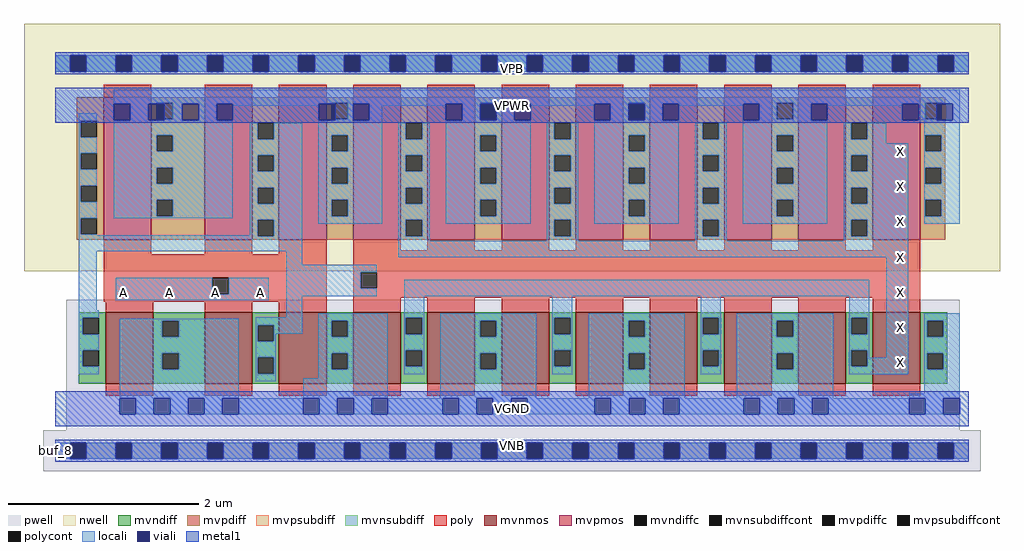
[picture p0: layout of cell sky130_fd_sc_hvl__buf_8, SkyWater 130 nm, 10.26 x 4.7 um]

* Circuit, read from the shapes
.subckt sky130_fd_sc_hvl__buf_8 A VGND VNB VPB VPWR X
XM1 VGND A n1 VNB sky130_fd_pr__nfet_g5v0d10v5 w=0.75 l=0.5 m=3
XM2 X n1 VGND VNB sky130_fd_pr__nfet_g5v0d10v5 w=0.75 l=0.5 m=8
XM3 VPWR A n1 VPB sky130_fd_pr__pfet_g5v0d10v5 w=1.5 l=0.5 m=3
XM4 X n1 VPWR VPB sky130_fd_pr__pfet_g5v0d10v5 w=1.5 l=0.5 m=8
.ends

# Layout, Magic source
magic
tech sky130A
magscale 1 2
<< nwell >>
rect -66 377 1986 897
<< pwell >>
rect 23 43 1901 317
rect -26 -43 1946 43
<< mvnmos >>
rect 106 141 206 291
rect 314 141 414 291
rect 470 141 570 291
rect 626 141 726 291
rect 782 141 882 291
rect 938 141 1038 291
rect 1094 141 1194 291
rect 1250 141 1350 291
rect 1406 141 1506 291
rect 1562 141 1662 291
rect 1718 141 1818 291
<< mvpmos >>
rect 102 443 202 743
rect 314 443 414 743
rect 470 443 570 743
rect 626 443 726 743
rect 782 443 882 743
rect 938 443 1038 743
rect 1094 443 1194 743
rect 1250 443 1350 743
rect 1406 443 1506 743
rect 1562 443 1662 743
rect 1718 443 1818 743
<< mvndiff >>
rect 49 279 106 291
rect 49 245 57 279
rect 91 245 106 279
rect 49 211 106 245
rect 49 177 57 211
rect 91 177 106 211
rect 49 141 106 177
rect 206 273 314 291
rect 206 239 225 273
rect 259 239 314 273
rect 206 205 314 239
rect 206 171 225 205
rect 259 171 314 205
rect 206 141 314 171
rect 414 264 470 291
rect 414 230 425 264
rect 459 230 470 264
rect 414 196 470 230
rect 414 162 425 196
rect 459 162 470 196
rect 414 141 470 162
rect 570 273 626 291
rect 570 239 581 273
rect 615 239 626 273
rect 570 205 626 239
rect 570 171 581 205
rect 615 171 626 205
rect 570 141 626 171
rect 726 279 782 291
rect 726 245 737 279
rect 771 245 782 279
rect 726 211 782 245
rect 726 177 737 211
rect 771 177 782 211
rect 726 141 782 177
rect 882 273 938 291
rect 882 239 893 273
rect 927 239 938 273
rect 882 205 938 239
rect 882 171 893 205
rect 927 171 938 205
rect 882 141 938 171
rect 1038 279 1094 291
rect 1038 245 1049 279
rect 1083 245 1094 279
rect 1038 211 1094 245
rect 1038 177 1049 211
rect 1083 177 1094 211
rect 1038 141 1094 177
rect 1194 273 1250 291
rect 1194 239 1205 273
rect 1239 239 1250 273
rect 1194 205 1250 239
rect 1194 171 1205 205
rect 1239 171 1250 205
rect 1194 141 1250 171
rect 1350 279 1406 291
rect 1350 245 1361 279
rect 1395 245 1406 279
rect 1350 211 1406 245
rect 1350 177 1361 211
rect 1395 177 1406 211
rect 1350 141 1406 177
rect 1506 273 1562 291
rect 1506 239 1517 273
rect 1551 239 1562 273
rect 1506 205 1562 239
rect 1506 171 1517 205
rect 1551 171 1562 205
rect 1506 141 1562 171
rect 1662 279 1718 291
rect 1662 245 1673 279
rect 1707 245 1718 279
rect 1662 211 1718 245
rect 1662 177 1673 211
rect 1707 177 1718 211
rect 1662 141 1718 177
rect 1818 273 1875 291
rect 1818 239 1833 273
rect 1867 239 1875 273
rect 1818 205 1875 239
rect 1818 171 1833 205
rect 1867 171 1875 205
rect 1818 141 1875 171
<< mvpdiff >>
rect 45 693 102 743
rect 45 659 53 693
rect 87 659 102 693
rect 45 625 102 659
rect 45 591 53 625
rect 87 591 102 625
rect 45 557 102 591
rect 45 523 53 557
rect 87 523 102 557
rect 45 489 102 523
rect 45 455 53 489
rect 87 455 102 489
rect 45 443 102 455
rect 202 731 314 743
rect 202 697 213 731
rect 247 697 314 731
rect 202 663 314 697
rect 202 629 213 663
rect 247 629 314 663
rect 202 595 314 629
rect 202 561 213 595
rect 247 561 314 595
rect 202 527 314 561
rect 202 493 213 527
rect 247 493 314 527
rect 202 443 314 493
rect 414 689 470 743
rect 414 655 425 689
rect 459 655 470 689
rect 414 621 470 655
rect 414 587 425 621
rect 459 587 470 621
rect 414 553 470 587
rect 414 519 425 553
rect 459 519 470 553
rect 414 485 470 519
rect 414 451 425 485
rect 459 451 470 485
rect 414 443 470 451
rect 570 731 626 743
rect 570 697 581 731
rect 615 697 626 731
rect 570 663 626 697
rect 570 629 581 663
rect 615 629 626 663
rect 570 595 626 629
rect 570 561 581 595
rect 615 561 626 595
rect 570 527 626 561
rect 570 493 581 527
rect 615 493 626 527
rect 570 443 626 493
rect 726 689 782 743
rect 726 655 737 689
rect 771 655 782 689
rect 726 621 782 655
rect 726 587 737 621
rect 771 587 782 621
rect 726 553 782 587
rect 726 519 737 553
rect 771 519 782 553
rect 726 485 782 519
rect 726 451 737 485
rect 771 451 782 485
rect 726 443 782 451
rect 882 731 938 743
rect 882 697 893 731
rect 927 697 938 731
rect 882 663 938 697
rect 882 629 893 663
rect 927 629 938 663
rect 882 595 938 629
rect 882 561 893 595
rect 927 561 938 595
rect 882 527 938 561
rect 882 493 893 527
rect 927 493 938 527
rect 882 443 938 493
rect 1038 689 1094 743
rect 1038 655 1049 689
rect 1083 655 1094 689
rect 1038 621 1094 655
rect 1038 587 1049 621
rect 1083 587 1094 621
rect 1038 553 1094 587
rect 1038 519 1049 553
rect 1083 519 1094 553
rect 1038 485 1094 519
rect 1038 451 1049 485
rect 1083 451 1094 485
rect 1038 443 1094 451
rect 1194 731 1250 743
rect 1194 697 1205 731
rect 1239 697 1250 731
rect 1194 663 1250 697
rect 1194 629 1205 663
rect 1239 629 1250 663
rect 1194 595 1250 629
rect 1194 561 1205 595
rect 1239 561 1250 595
rect 1194 527 1250 561
rect 1194 493 1205 527
rect 1239 493 1250 527
rect 1194 443 1250 493
rect 1350 689 1406 743
rect 1350 655 1361 689
rect 1395 655 1406 689
rect 1350 621 1406 655
rect 1350 587 1361 621
rect 1395 587 1406 621
rect 1350 553 1406 587
rect 1350 519 1361 553
rect 1395 519 1406 553
rect 1350 485 1406 519
rect 1350 451 1361 485
rect 1395 451 1406 485
rect 1350 443 1406 451
rect 1506 731 1562 743
rect 1506 697 1517 731
rect 1551 697 1562 731
rect 1506 663 1562 697
rect 1506 629 1517 663
rect 1551 629 1562 663
rect 1506 595 1562 629
rect 1506 561 1517 595
rect 1551 561 1562 595
rect 1506 527 1562 561
rect 1506 493 1517 527
rect 1551 493 1562 527
rect 1506 443 1562 493
rect 1662 689 1718 743
rect 1662 655 1673 689
rect 1707 655 1718 689
rect 1662 621 1718 655
rect 1662 587 1673 621
rect 1707 587 1718 621
rect 1662 553 1718 587
rect 1662 519 1673 553
rect 1707 519 1718 553
rect 1662 485 1718 519
rect 1662 451 1673 485
rect 1707 451 1718 485
rect 1662 443 1718 451
rect 1818 731 1871 743
rect 1818 697 1829 731
rect 1863 697 1871 731
rect 1818 663 1871 697
rect 1818 629 1829 663
rect 1863 629 1871 663
rect 1818 595 1871 629
rect 1818 561 1829 595
rect 1863 561 1871 595
rect 1818 527 1871 561
rect 1818 493 1829 527
rect 1863 493 1871 527
rect 1818 443 1871 493
<< mvndiffc >>
rect 57 245 91 279
rect 57 177 91 211
rect 225 239 259 273
rect 225 171 259 205
rect 425 230 459 264
rect 425 162 459 196
rect 581 239 615 273
rect 581 171 615 205
rect 737 245 771 279
rect 737 177 771 211
rect 893 239 927 273
rect 893 171 927 205
rect 1049 245 1083 279
rect 1049 177 1083 211
rect 1205 239 1239 273
rect 1205 171 1239 205
rect 1361 245 1395 279
rect 1361 177 1395 211
rect 1517 239 1551 273
rect 1517 171 1551 205
rect 1673 245 1707 279
rect 1673 177 1707 211
rect 1833 239 1867 273
rect 1833 171 1867 205
<< mvpdiffc >>
rect 53 659 87 693
rect 53 591 87 625
rect 53 523 87 557
rect 53 455 87 489
rect 213 697 247 731
rect 213 629 247 663
rect 213 561 247 595
rect 213 493 247 527
rect 425 655 459 689
rect 425 587 459 621
rect 425 519 459 553
rect 425 451 459 485
rect 581 697 615 731
rect 581 629 615 663
rect 581 561 615 595
rect 581 493 615 527
rect 737 655 771 689
rect 737 587 771 621
rect 737 519 771 553
rect 737 451 771 485
rect 893 697 927 731
rect 893 629 927 663
rect 893 561 927 595
rect 893 493 927 527
rect 1049 655 1083 689
rect 1049 587 1083 621
rect 1049 519 1083 553
rect 1049 451 1083 485
rect 1205 697 1239 731
rect 1205 629 1239 663
rect 1205 561 1239 595
rect 1205 493 1239 527
rect 1361 655 1395 689
rect 1361 587 1395 621
rect 1361 519 1395 553
rect 1361 451 1395 485
rect 1517 697 1551 731
rect 1517 629 1551 663
rect 1517 561 1551 595
rect 1517 493 1551 527
rect 1673 655 1707 689
rect 1673 587 1707 621
rect 1673 519 1707 553
rect 1673 451 1707 485
rect 1829 697 1863 731
rect 1829 629 1863 663
rect 1829 561 1863 595
rect 1829 493 1863 527
<< mvpsubdiff >>
rect 0 -17 31 17
rect 65 -17 127 17
rect 161 -17 223 17
rect 257 -17 319 17
rect 353 -17 415 17
rect 449 -17 511 17
rect 545 -17 607 17
rect 641 -17 703 17
rect 737 -17 799 17
rect 833 -17 895 17
rect 929 -17 991 17
rect 1025 -17 1087 17
rect 1121 -17 1183 17
rect 1217 -17 1279 17
rect 1313 -17 1375 17
rect 1409 -17 1471 17
rect 1505 -17 1567 17
rect 1601 -17 1663 17
rect 1697 -17 1759 17
rect 1793 -17 1855 17
rect 1889 -17 1920 17
<< mvnsubdiff >>
rect 0 797 31 831
rect 65 797 127 831
rect 161 797 223 831
rect 257 797 319 831
rect 353 797 415 831
rect 449 797 511 831
rect 545 797 607 831
rect 641 797 703 831
rect 737 797 799 831
rect 833 797 895 831
rect 929 797 991 831
rect 1025 797 1087 831
rect 1121 797 1183 831
rect 1217 797 1279 831
rect 1313 797 1375 831
rect 1409 797 1471 831
rect 1505 797 1567 831
rect 1601 797 1663 831
rect 1697 797 1759 831
rect 1793 797 1855 831
rect 1889 797 1920 831
<< mvpsubdiffcont >>
rect 31 -17 65 17
rect 127 -17 161 17
rect 223 -17 257 17
rect 319 -17 353 17
rect 415 -17 449 17
rect 511 -17 545 17
rect 607 -17 641 17
rect 703 -17 737 17
rect 799 -17 833 17
rect 895 -17 929 17
rect 991 -17 1025 17
rect 1087 -17 1121 17
rect 1183 -17 1217 17
rect 1279 -17 1313 17
rect 1375 -17 1409 17
rect 1471 -17 1505 17
rect 1567 -17 1601 17
rect 1663 -17 1697 17
rect 1759 -17 1793 17
rect 1855 -17 1889 17
<< mvnsubdiffcont >>
rect 31 797 65 831
rect 127 797 161 831
rect 223 797 257 831
rect 319 797 353 831
rect 415 797 449 831
rect 511 797 545 831
rect 607 797 641 831
rect 703 797 737 831
rect 799 797 833 831
rect 895 797 929 831
rect 991 797 1025 831
rect 1087 797 1121 831
rect 1183 797 1217 831
rect 1279 797 1313 831
rect 1375 797 1409 831
rect 1471 797 1505 831
rect 1567 797 1601 831
rect 1663 797 1697 831
rect 1759 797 1793 831
rect 1855 797 1889 831
<< poly >>
rect 102 743 202 769
rect 314 743 414 769
rect 470 743 570 769
rect 626 743 726 769
rect 782 743 882 769
rect 938 743 1038 769
rect 1094 743 1194 769
rect 1250 743 1350 769
rect 1406 743 1506 769
rect 1562 743 1662 769
rect 1718 743 1818 769
rect 102 413 202 443
rect 314 413 414 443
rect 470 413 570 443
rect 102 363 570 413
rect 102 329 330 363
rect 364 329 570 363
rect 102 313 570 329
rect 106 291 206 313
rect 314 291 414 313
rect 470 291 570 313
rect 626 421 726 443
rect 782 421 882 443
rect 938 421 1038 443
rect 1094 421 1194 443
rect 1250 421 1350 443
rect 1406 421 1506 443
rect 1562 421 1662 443
rect 1718 421 1818 443
rect 626 375 1818 421
rect 626 341 642 375
rect 676 341 1818 375
rect 626 321 1818 341
rect 626 291 726 321
rect 782 291 882 321
rect 938 291 1038 321
rect 1094 291 1194 321
rect 1250 291 1350 321
rect 1406 291 1506 321
rect 1562 291 1662 321
rect 1718 291 1818 321
rect 106 115 206 141
rect 314 115 414 141
rect 470 115 570 141
rect 626 115 726 141
rect 782 115 882 141
rect 938 115 1038 141
rect 1094 115 1194 141
rect 1250 115 1350 141
rect 1406 115 1506 141
rect 1562 115 1662 141
rect 1718 115 1818 141
<< polycont >>
rect 330 329 364 363
rect 642 341 676 375
<< locali >>
rect 0 797 31 831
rect 65 797 127 831
rect 161 797 223 831
rect 257 797 319 831
rect 353 797 415 831
rect 449 797 511 831
rect 545 797 607 831
rect 641 797 703 831
rect 737 797 799 831
rect 833 797 895 831
rect 929 797 991 831
rect 1025 797 1087 831
rect 1121 797 1183 831
rect 1217 797 1279 831
rect 1313 797 1375 831
rect 1409 797 1471 831
rect 1505 797 1567 831
rect 1601 797 1663 831
rect 1697 797 1759 831
rect 1793 797 1855 831
rect 1889 797 1920 831
rect 123 731 1901 759
rect 123 729 213 731
rect 247 729 581 731
rect 615 729 893 731
rect 927 729 1205 731
rect 1239 729 1517 731
rect 49 693 87 709
rect 49 659 53 693
rect 49 625 87 659
rect 49 591 53 625
rect 49 557 87 591
rect 49 523 53 557
rect 49 489 87 523
rect 157 695 195 729
rect 247 697 267 729
rect 229 695 267 697
rect 301 695 339 729
rect 373 725 554 729
rect 123 663 373 695
rect 553 695 554 725
rect 615 697 626 729
rect 588 695 626 697
rect 660 725 821 729
rect 660 695 687 725
rect 123 629 213 663
rect 247 629 373 663
rect 123 595 373 629
rect 123 561 213 595
rect 247 561 373 595
rect 123 527 373 561
rect 123 493 213 527
rect 247 493 373 527
rect 123 489 373 493
rect 409 655 425 689
rect 459 655 519 689
rect 409 621 519 655
rect 409 587 425 621
rect 459 587 519 621
rect 409 553 519 587
rect 409 519 425 553
rect 459 519 519 553
rect 49 455 53 489
rect 49 453 87 455
rect 409 485 519 519
rect 409 453 425 485
rect 49 451 425 453
rect 459 451 519 485
rect 553 663 687 695
rect 855 695 893 729
rect 927 695 965 729
rect 999 725 1133 729
rect 553 629 581 663
rect 615 629 687 663
rect 553 595 687 629
rect 553 561 581 595
rect 615 561 687 595
rect 553 527 687 561
rect 553 493 581 527
rect 615 493 687 527
rect 553 477 687 493
rect 721 655 737 689
rect 771 655 787 689
rect 721 621 787 655
rect 721 587 737 621
rect 771 587 787 621
rect 721 553 787 587
rect 721 519 737 553
rect 771 519 787 553
rect 721 485 787 519
rect 49 419 519 451
rect 49 295 87 419
rect 485 391 519 419
rect 721 451 737 485
rect 771 451 787 485
rect 821 663 999 695
rect 1167 695 1205 729
rect 1239 695 1277 729
rect 1311 725 1446 729
rect 821 629 893 663
rect 927 629 999 663
rect 821 595 999 629
rect 821 561 893 595
rect 927 561 999 595
rect 821 527 999 561
rect 821 493 893 527
rect 927 493 999 527
rect 821 477 999 493
rect 1033 655 1049 689
rect 1083 655 1099 689
rect 1033 621 1099 655
rect 1033 587 1049 621
rect 1083 587 1099 621
rect 1033 553 1099 587
rect 1033 519 1049 553
rect 1083 519 1099 553
rect 1033 485 1099 519
rect 721 441 787 451
rect 1033 451 1049 485
rect 1083 451 1099 485
rect 1133 663 1311 695
rect 1445 695 1446 725
rect 1480 697 1517 729
rect 1551 729 1829 731
rect 1863 729 1901 731
rect 1551 697 1589 729
rect 1480 695 1589 697
rect 1623 725 1781 729
rect 1815 697 1829 729
rect 1815 695 1853 697
rect 1887 695 1901 729
rect 1133 629 1205 663
rect 1239 629 1311 663
rect 1133 595 1311 629
rect 1133 561 1205 595
rect 1239 561 1311 595
rect 1133 527 1311 561
rect 1133 493 1205 527
rect 1239 493 1311 527
rect 1133 477 1311 493
rect 1345 655 1361 689
rect 1395 655 1411 689
rect 1345 621 1411 655
rect 1345 587 1361 621
rect 1395 587 1411 621
rect 1345 553 1411 587
rect 1345 519 1361 553
rect 1395 519 1411 553
rect 1345 485 1411 519
rect 1033 441 1099 451
rect 1345 451 1361 485
rect 1395 451 1411 485
rect 1445 663 1623 695
rect 1445 629 1517 663
rect 1551 629 1623 663
rect 1445 595 1623 629
rect 1445 561 1517 595
rect 1551 561 1623 595
rect 1445 527 1623 561
rect 1445 493 1517 527
rect 1551 493 1623 527
rect 1445 477 1623 493
rect 1657 655 1673 689
rect 1707 655 1747 689
rect 1657 646 1747 655
rect 1827 663 1901 695
rect 1657 621 1793 646
rect 1657 587 1673 621
rect 1707 587 1793 621
rect 1657 553 1793 587
rect 1657 519 1673 553
rect 1707 519 1793 553
rect 1657 485 1793 519
rect 1345 441 1411 451
rect 1657 451 1673 485
rect 1707 451 1793 485
rect 1827 629 1829 663
rect 1863 629 1901 663
rect 1827 595 1901 629
rect 1827 561 1829 595
rect 1863 561 1901 595
rect 1827 527 1901 561
rect 1827 493 1829 527
rect 1863 493 1901 527
rect 1827 477 1901 493
rect 1657 441 1793 451
rect 721 407 1793 441
rect 485 375 676 391
rect 127 329 330 363
rect 364 329 449 363
rect 127 316 449 329
rect 485 341 642 375
rect 485 325 676 341
rect 733 325 1711 359
rect 49 279 91 295
rect 485 280 519 325
rect 49 245 57 279
rect 49 211 91 245
rect 49 177 57 211
rect 49 161 91 177
rect 135 273 385 277
rect 135 239 225 273
rect 259 239 385 273
rect 135 205 385 239
rect 135 171 225 205
rect 259 171 385 205
rect 135 110 385 171
rect 421 264 519 280
rect 421 230 425 264
rect 459 246 519 264
rect 553 273 699 289
rect 459 230 463 246
rect 421 196 463 230
rect 421 162 425 196
rect 459 162 463 196
rect 421 146 463 162
rect 553 239 581 273
rect 615 239 699 273
rect 553 205 699 239
rect 553 171 581 205
rect 615 171 699 205
rect 553 152 699 171
rect 733 279 775 325
rect 733 245 737 279
rect 771 245 775 279
rect 733 211 775 245
rect 733 177 737 211
rect 771 177 775 211
rect 733 161 775 177
rect 809 273 1011 289
rect 809 239 893 273
rect 927 239 1011 273
rect 809 205 1011 239
rect 809 171 893 205
rect 927 171 1011 205
rect 521 110 699 152
rect 809 110 1011 171
rect 1045 279 1087 325
rect 1045 245 1049 279
rect 1083 245 1087 279
rect 1045 211 1087 245
rect 1045 177 1049 211
rect 1083 177 1087 211
rect 1045 161 1087 177
rect 1121 273 1323 289
rect 1121 239 1205 273
rect 1239 239 1323 273
rect 1121 205 1323 239
rect 1121 171 1205 205
rect 1239 171 1323 205
rect 1121 110 1323 171
rect 1357 279 1399 325
rect 1357 245 1361 279
rect 1395 245 1399 279
rect 1357 211 1399 245
rect 1357 177 1361 211
rect 1395 177 1399 211
rect 1357 161 1399 177
rect 1433 273 1635 289
rect 1433 239 1517 273
rect 1551 239 1635 273
rect 1433 205 1635 239
rect 1433 171 1517 205
rect 1551 171 1635 205
rect 1433 110 1635 171
rect 1669 279 1711 325
rect 1669 245 1673 279
rect 1707 245 1711 279
rect 1669 211 1711 245
rect 1669 177 1673 211
rect 1707 195 1711 211
rect 1747 195 1793 407
rect 1707 177 1793 195
rect 1669 161 1793 177
rect 1827 273 1901 289
rect 1827 239 1833 273
rect 1867 239 1901 273
rect 1827 205 1901 239
rect 1827 171 1833 205
rect 1867 171 1901 205
rect 1827 120 1901 171
rect 1795 110 1901 120
rect 169 76 207 110
rect 241 76 279 110
rect 313 76 351 110
rect 385 76 521 110
rect 555 76 593 110
rect 627 76 665 110
rect 699 76 814 110
rect 848 76 886 110
rect 920 76 958 110
rect 992 76 1134 110
rect 1168 76 1206 110
rect 1240 76 1278 110
rect 1312 76 1447 110
rect 1481 76 1519 110
rect 1553 76 1591 110
rect 1625 76 1795 110
rect 1829 76 1867 110
rect 0 -17 31 17
rect 65 -17 127 17
rect 161 -17 223 17
rect 257 -17 319 17
rect 353 -17 415 17
rect 449 -17 511 17
rect 545 -17 607 17
rect 641 -17 703 17
rect 737 -17 799 17
rect 833 -17 895 17
rect 929 -17 991 17
rect 1025 -17 1087 17
rect 1121 -17 1183 17
rect 1217 -17 1279 17
rect 1313 -17 1375 17
rect 1409 -17 1471 17
rect 1505 -17 1567 17
rect 1601 -17 1663 17
rect 1697 -17 1759 17
rect 1793 -17 1855 17
rect 1889 -17 1920 17
<< viali >>
rect 31 797 65 831
rect 127 797 161 831
rect 223 797 257 831
rect 319 797 353 831
rect 415 797 449 831
rect 511 797 545 831
rect 607 797 641 831
rect 703 797 737 831
rect 799 797 833 831
rect 895 797 929 831
rect 991 797 1025 831
rect 1087 797 1121 831
rect 1183 797 1217 831
rect 1279 797 1313 831
rect 1375 797 1409 831
rect 1471 797 1505 831
rect 1567 797 1601 831
rect 1663 797 1697 831
rect 1759 797 1793 831
rect 1855 797 1889 831
rect 123 695 157 729
rect 195 697 213 729
rect 213 697 229 729
rect 195 695 229 697
rect 267 695 301 729
rect 339 695 373 729
rect 554 697 581 729
rect 581 697 588 729
rect 554 695 588 697
rect 626 695 660 729
rect 821 695 855 729
rect 893 697 927 729
rect 893 695 927 697
rect 965 695 999 729
rect 1133 695 1167 729
rect 1205 697 1239 729
rect 1205 695 1239 697
rect 1277 695 1311 729
rect 1446 695 1480 729
rect 1589 695 1623 729
rect 1781 695 1815 729
rect 1853 697 1863 729
rect 1863 697 1887 729
rect 1853 695 1887 697
rect 135 76 169 110
rect 207 76 241 110
rect 279 76 313 110
rect 351 76 385 110
rect 521 76 555 110
rect 593 76 627 110
rect 665 76 699 110
rect 814 76 848 110
rect 886 76 920 110
rect 958 76 992 110
rect 1134 76 1168 110
rect 1206 76 1240 110
rect 1278 76 1312 110
rect 1447 76 1481 110
rect 1519 76 1553 110
rect 1591 76 1625 110
rect 1795 76 1829 110
rect 1867 76 1901 110
rect 31 -17 65 17
rect 127 -17 161 17
rect 223 -17 257 17
rect 319 -17 353 17
rect 415 -17 449 17
rect 511 -17 545 17
rect 607 -17 641 17
rect 703 -17 737 17
rect 799 -17 833 17
rect 895 -17 929 17
rect 991 -17 1025 17
rect 1087 -17 1121 17
rect 1183 -17 1217 17
rect 1279 -17 1313 17
rect 1375 -17 1409 17
rect 1471 -17 1505 17
rect 1567 -17 1601 17
rect 1663 -17 1697 17
rect 1759 -17 1793 17
rect 1855 -17 1889 17
<< metal1 >>
rect 0 831 1920 837
rect 0 797 31 831
rect 65 797 127 831
rect 161 797 223 831
rect 257 797 319 831
rect 353 797 415 831
rect 449 797 511 831
rect 545 797 607 831
rect 641 797 703 831
rect 737 797 799 831
rect 833 797 895 831
rect 929 797 991 831
rect 1025 797 1087 831
rect 1121 797 1183 831
rect 1217 797 1279 831
rect 1313 797 1375 831
rect 1409 797 1471 831
rect 1505 797 1567 831
rect 1601 797 1663 831
rect 1697 797 1759 831
rect 1793 797 1855 831
rect 1889 797 1920 831
rect 0 791 1920 797
rect 0 729 1920 763
rect 0 695 123 729
rect 157 695 195 729
rect 229 695 267 729
rect 301 695 339 729
rect 373 695 554 729
rect 588 695 626 729
rect 660 695 821 729
rect 855 695 893 729
rect 927 695 965 729
rect 999 695 1133 729
rect 1167 695 1205 729
rect 1239 695 1277 729
rect 1311 695 1446 729
rect 1480 695 1589 729
rect 1623 695 1781 729
rect 1815 695 1853 729
rect 1887 695 1920 729
rect 0 689 1920 695
rect 0 110 1920 125
rect 0 76 135 110
rect 169 76 207 110
rect 241 76 279 110
rect 313 76 351 110
rect 385 76 521 110
rect 555 76 593 110
rect 627 76 665 110
rect 699 76 814 110
rect 848 76 886 110
rect 920 76 958 110
rect 992 76 1134 110
rect 1168 76 1206 110
rect 1240 76 1278 110
rect 1312 76 1447 110
rect 1481 76 1519 110
rect 1553 76 1591 110
rect 1625 76 1795 110
rect 1829 76 1867 110
rect 1901 76 1920 110
rect 0 51 1920 76
rect 0 17 1920 23
rect 0 -17 31 17
rect 65 -17 127 17
rect 161 -17 223 17
rect 257 -17 319 17
rect 353 -17 415 17
rect 449 -17 511 17
rect 545 -17 607 17
rect 641 -17 703 17
rect 737 -17 799 17
rect 833 -17 895 17
rect 929 -17 991 17
rect 1025 -17 1087 17
rect 1121 -17 1183 17
rect 1217 -17 1279 17
rect 1313 -17 1375 17
rect 1409 -17 1471 17
rect 1505 -17 1567 17
rect 1601 -17 1663 17
rect 1697 -17 1759 17
rect 1793 -17 1855 17
rect 1889 -17 1920 17
rect 0 -23 1920 -17
<< labels >>
rlabel comment s 0 0 0 0 4 buf_8
flabel metal1 s 0 0 1920 23 0 FreeSans 340 0 0 0 VNB
flabel metal1 s 0 689 1920 763 0 FreeSans 340 0 0 0 VPWR
flabel metal1 s 0 791 1920 814 0 FreeSans 340 0 0 0 VPB
flabel metal1 s 960 802 960 802 0 FreeSans 340 0 0 0 VPB
flabel metal1 s 0 51 1920 125 0 FreeSans 340 0 0 0 VGND
flabel metal1 s 960 11 960 11 0 FreeSans 340 0 0 0 VNB
flabel locali s 1759 168 1793 202 0 FreeSans 340 0 0 0 X
flabel locali s 1759 242 1793 276 0 FreeSans 340 0 0 0 X
flabel locali s 1759 316 1793 350 0 FreeSans 340 0 0 0 X
flabel locali s 1759 390 1793 424 0 FreeSans 340 0 0 0 X
flabel locali s 1759 464 1793 498 0 FreeSans 340 0 0 0 X
flabel locali s 1759 538 1793 572 0 FreeSans 340 0 0 0 X
flabel locali s 1759 612 1793 646 0 FreeSans 340 0 0 0 X
flabel locali s 127 316 161 350 0 FreeSans 340 0 0 0 A
flabel locali s 223 316 257 350 0 FreeSans 340 0 0 0 A
flabel locali s 319 316 353 350 0 FreeSans 340 0 0 0 A
flabel locali s 415 316 449 350 0 FreeSans 340 0 0 0 A
<< properties >>
string FIXED_BBOX 0 0 1920 814
<< end >>
